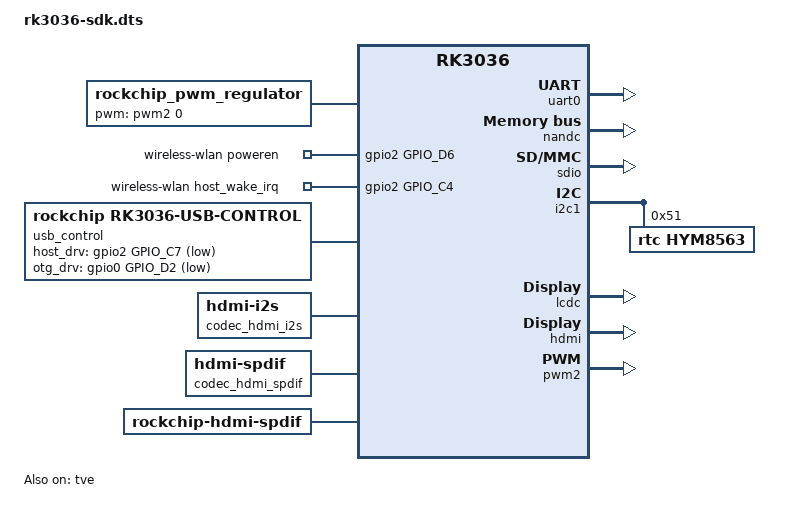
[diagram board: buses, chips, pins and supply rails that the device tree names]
/dts-v1/;
#include <dt-bindings/rkfb/rk_fb.h>
#include "rk3036.dtsi"
#include "rk3036-pinctrl.dtsi"
#include "lcd-box.dtsi"
/ {

	fiq-debugger {
		status = "okay";
	};

	pwm_regulator {
		compatible = "rockchip_pwm_regulator";
		pwms = <&pwm2 0 25000>;
		rockchip,pwm_id= <2>;
		rockchip,pwm_voltage_map= <950000 975000 1000000 1025000 1050000 1075000 1100000 1125000 1150000 1175000 1200000 1225000 1250000 1275000 1300000 1325000 1350000 1375000 1400000 1425000 1450000>;
		rockchip,pwm_voltage= <1300000>;
		rockchip,pwm_min_voltage= <950000>;
		rockchip,pwm_max_voltage= <1450000>;
		rockchip,pwm_suspend_voltage= <1000000>;
		rockchip,pwm_coefficient= <500>;
		status = "okay";
		regulators {
			#address-cells = <1>;
			#size-cells = <0>;
			pwm_reg0: regulator@0 {
				regulator-compatible = "pwm_dcdc1";
				regulator-name= "vdd_arm";
				regulator-min-microvolt = <950000>;
				regulator-max-microvolt = <1450000>;
				regulator-always-on;
				regulator-boot-on;
			};
		};
	};

	wireless-wlan {
		compatible = "wlan-platdata";

		wifi_chip_type = "esp8089";
		sdio_vref = <0>; //1800mv or 3300mv

		//power_ctrl_by_pmu;
		//power_pmu_regulator = "act_ldo3";
		//power_pmu_enable_level = <1>; //1->HIGH, 0->LOW

		//vref_ctrl_enable;
		//vref_ctrl_gpio = <&gpio0 GPIO_A2 GPIO_ACTIVE_HIGH>;
		//vref_pmu_regulator = "act_ldo3";
		//vref_pmu_enable_level = <1>; //1->HIGH, 0->LOW

		WIFI,poweren_gpio = <&gpio2 GPIO_D6 GPIO_ACTIVE_HIGH>;
		WIFI,host_wake_irq = <&gpio2 GPIO_C4 GPIO_ACTIVE_HIGH>;
		//WIFI,reset_gpio = <&gpio0 GPIO_A2 GPIO_ACTIVE_LOW>;

		status = "okay";
    };

	usb_control {
		compatible = "rockchip,rk3036-usb-control";
		host_drv_gpio = <&gpio2 GPIO_C7 GPIO_ACTIVE_LOW>;
		otg_drv_gpio = <&gpio0 GPIO_D2 GPIO_ACTIVE_LOW>;

		rockchip,remote_wakeup;
		rockchip,usb_irq_wakeup;
	};

	key {
		compatible = "rockchip,key";
	};

	codec_hdmi_i2s: codec-hdmi-i2s {
		compatible = "hdmi-i2s";
	};

	rockchip-hdmi-i2s {
		compatible = "rockchip-hdmi-i2s";
		dais {
			dai0 {
				audio-codec = <&codec_hdmi_i2s>;
				i2s-controller = <&i2s>;
				format = "i2s";
				//continuous-clock;
				//bitclock-inversion;
				//frame-inversion;
				//bitclock-master;
				//frame-master;
			};
		};
	};

	codec_hdmi_spdif: codec-hdmi-spdif {
		compatible = "hdmi-spdif";
	};

	rockchip-hdmi-spdif {
		compatible = "rockchip-hdmi-spdif";
		dais {
			dai0 {
				audio-codec = <&codec_hdmi_spdif>;
				i2s-controller = <&spdif>;
			};
		};
	};

	rockchip-audio {
		compatible = "rk3036-audio";
		dais {
			dai0 {
				audio-codec = <&codec>;
				i2s-controller = <&i2s>;
				format = "i2s";
				//continuous-clock;
				//bitclock-inversion;
				//frame-inversion;
				//bitclock-master;
				//frame-master;
			};
		};
	};
};

&uart0{
	status = "okay";
	dma-names = "!tx", "!rx";
	pinctrl-0 = <&uart0_xfer &uart0_cts>;
};

&nandc {
	status = "okay"; // used nand set "okay" ,used emmc set "disabled"
};

&nandc0reg {
	status = "disabled"; // used nand set "disabled" ,used emmc set "okay"
};

&emmc {
	clock-frequency = <37500000>;
	clock-freq-min-max = <400000 37500000>;

        supports-highspeed;
	supports-emmc;
        bootpart-no-access;

	supports-DDR_MODE;

        ignore-pm-notify;
	keep-power-in-suspend;

	//poll-hw-reset
	status = "disabled";
};

&sdmmc {
		clock-frequency = <37500000>;
		clock-freq-min-max = <400000 37500000>;
		supports-highspeed;
		supports-sd;
		broken-cd;
		card-detect-delay = <200>;

		ignore-pm-notify;
        	keep-power-in-suspend;

        	//vmmc-supply = <&rk808_ldo5_reg>;
		status = "disabled";
};

&sdio {
		clock-frequency = <37500000>;
		clock-freq-min-max = <200000 37500000>;
		supports-highspeed;
		supports-sdio;
		ignore-pm-notify;
		keep-power-in-suspend;
		cap-sdio-irq;
		status = "okay";
};


&i2c1 {
	status = "okay";
        rtc@51 {
                compatible = "rtc,hym8563";
                reg = <0x51>;
                //irq_gpio = <&gpio0 GPIO_A4 IRQ_TYPE_EDGE_FALLING>;
        };
};


&rk_screen {
	 display-timings = <&disp_timings>;
};

&lcdc {
	status = "okay";
};

&tve {
	status = "okay";
};

&hdmi {
	status = "okay";
	//rockchips,hdmi_audio_source = <0>;
};

&vmac {
//	pmu_regulator = "act_ldo5";
//	pmu_enable_level = <1>; //1->HIGH, 0->LOW
//      power-gpio = <&gpio0 GPIO_A6 GPIO_ACTIVE_HIGH>;
        reset-gpio = <&gpio2 GPIO_C6 GPIO_ACTIVE_LOW>;
};

&dwc_control_usb {
	usb_uart {
		status = "disabled";
	};
};

&pwm2 {
        status = "okay";
};

&remotectl {
	handle_cpu_id = <1>;
	ir_key1{
		compatible = "rockchip,ir_key";
		rockchip,usercode = <0x4040>;
		rockchip,key_table = 
			<0xf2	KEY_REPLY>,
	    <0xba	KEY_BACK>, 
	    <0xf4	KEY_UP>,
	    <0xf1	KEY_DOWN>,
	    <0xef	KEY_LEFT>,
	    <0xee	KEY_RIGHT>, 
	    <0xbd	KEY_HOME>,     
	    <0xea	KEY_VOLUMEUP>,
	    <0xe3	KEY_VOLUMEDOWN>,
	    <0xe2	KEY_SEARCH>,     
	    <0xb2	KEY_POWER>,    
	    <0xbc	KEY_MUTE>,      
	    <0xec	KEY_MENU>,
	    <0xbf	0x190>,     
	    <0xe0	0x191>,      
	    <0xe1	0x192>,      
	    <0xe9	183>,          
	    <0xe6	248>,          
	    <0xe8	185>,         
	    <0xe7	186>,          
	    <0xf0	388>,           
	    <0xbe	0x175>;
	};
	ir_key2{
		compatible = "rockchip,ir_key";
		rockchip,usercode = <0xff00>;
		rockchip,key_table = 
			<0xf9	KEY_HOME>,    
    	<0xbf	KEY_BACK>, 	
    	<0xfb	KEY_MENU>,			
    	<0xaa	KEY_REPLY>,		
	    <0xb9	KEY_UP>,	
	    <0xe9	KEY_DOWN>,
	    <0xb8	KEY_LEFT>,
	    <0xea	KEY_RIGHT>,
	    <0xeb	KEY_VOLUMEDOWN>,
	    <0xef	KEY_VOLUMEUP>,
	    <0xf7	KEY_MUTE>,      
	    <0xe7	KEY_POWER>,     
	    <0xfc	KEY_POWER>,     
	    <0xa9	KEY_VOLUMEDOWN>,	
	    <0xa8	KEY_VOLUMEDOWN>,	
	    <0xe0	KEY_VOLUMEDOWN>,	
	    <0xa5	KEY_VOLUMEDOWN>,	
	    <0xab	183>,	
	    <0xb7	388>,	
	    <0xf8	184>,	
	    <0xaf	185>,	
	    <0xed	KEY_VOLUMEDOWN>,	
	    <0xee	186>,	
	    <0xb3	KEY_VOLUMEDOWN>,	
	    <0xf1	KEY_VOLUMEDOWN>,	
	    <0xf2	KEY_VOLUMEDOWN>,	
	    <0xf3	KEY_SEARCH>,	
	    <0xb4	KEY_VOLUMEDOWN>,	
	    <0xbe	KEY_SEARCH>;    
	};
	ir_key3{
		compatible = "rockchip,ir_key";
		rockchip,usercode = <0x1dcc>;
		rockchip,key_table = 
			<0xee	KEY_REPLY>,
			<0xf0	KEY_BACK>,
			<0xf8	KEY_UP>,
			<0xbb	KEY_DOWN>,
			<0xef	KEY_LEFT>,
			<0xed	KEY_RIGHT>,
			<0xfc	KEY_HOME>,
			<0xf1	KEY_VOLUMEUP>,
			<0xfd	KEY_VOLUMEDOWN>,
			<0xb7	KEY_SEARCH>,
			<0xff	KEY_POWER>,
			<0xf3	KEY_MUTE>,
			<0xbf	KEY_MENU>,
			<0xf9	0x191>,
			<0xf5	0x192>,
			<0xb3	388>,
			<0xbe	KEY_1>,
			<0xba	KEY_2>,
			<0xb2	KEY_3>,
			<0xbd	KEY_4>,
			<0xf9	KEY_5>,
			<0xb1	KEY_6>,
			<0xfc	KEY_7>,
			<0xf8	KEY_8>,
			<0xb0	KEY_9>,
			<0xb6	KEY_0>,
			<0xb5	KEY_BACKSPACE>;    
	};
};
